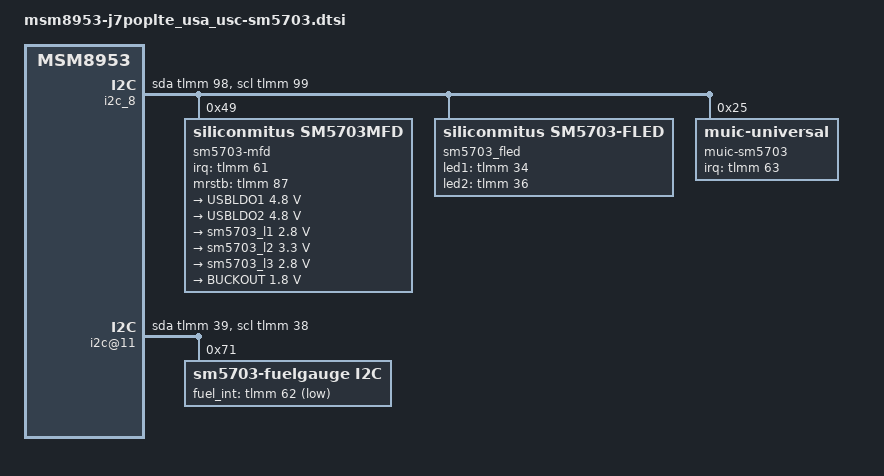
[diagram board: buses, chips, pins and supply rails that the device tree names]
/* Copyright (c) 2016, The Linux Foundation. All rights reserved.
 *
 * This program is free software; you can redistribute it and/or modify
 * it under the terms of the GNU General Public License version 2 and
 * only version 2 as published by the Free Software Foundation.
 *
 * This program is distributed in the hope that it will be useful,
 * but WITHOUT ANY WARRANTY; without even the implied warranty of
 * MERCHANTABILITY or FITNESS FOR A PARTICULAR PURPOSE.  See the
 * GNU General Public License for more details.
 */

&soc {
	i2c_8: i2c@8 {
		cell-index = <8>;
		compatible = "i2c-gpio";
		gpios = <&tlmm 98 0 /* sda */
			&tlmm 99 0	/* scl */
			>;
		i2c-gpio,delay-us = <2>;
		#address-cells = <1>;
		#size-cells = <0>;

		sm5703-mfd@49 {
			compatible = "siliconmitus,sm5703mfd";
			reg = <0x49>;
			interrupt-parent = <&tlmm>;
			sm5703,irq-gpio = <&tlmm 61 0x00>;
			sm5703,mrstb-gpio = <&tlmm 87 0x00>;
			pinctrl-names = "default";
			pinctrl-0 = <&sm5703_i2c_default &sm5703_rst_default &charger_int_active>;

			sm5703_charger {
				compatible = "siliconmitus,sm5703-charger";
				chg_autostop = <1>;
				chg_autoset = <1>;
				chg_aiclen = <1>;
				chg_aiclth = <4300>;
				fg_vol_val = <4350>;
				fg_soc_val = <95>;
				fg_curr_avr_val = <150>;
			};

			sm5703_usbldo1 {
				compatible = "siliconmitus,sm5703-usbldo1";
				regulator-name = "USBLDO1"; /* change name by yourself */
				regulator-min-microvolt = <4800000>;
				regulator-max-microvolt = <4800000>; /* max == min then apply_uV = 1 */
				/* regulator-microvolt-offset = < >; optional*/
				/* regulator-boot-on; optional, exist = enabled */
				regulator-always-on;
				/* regulator-ramp-delay = <100>; optional*/
			};

			sm5703_usbldo2 {
				compatible = "siliconmitus,sm5703-usbldo2";
				regulator-name = "USBLDO2"; /* change name by yourself */
				regulator-min-microvolt = <4800000>;
				regulator-max-microvolt = <4800000>; /* max == min then apply_uV = 1 */
				/* regulator-microvolt-offset = < >; optional*/
				/* regulator-boot-on; optional, exist = enabled */
				/* regulator-always-on; optional, exist = enabled */
				/* regulator-ramp-delay = <100>; optional*/
			};

			sm5703_l1: sm5703_ldo1 {
				compatible = "siliconmitus,sm5703-ldo1";
				regulator-name = "LDOOUT1"; /* change name by yourself */
				regulator-min-microvolt = <2800000>;
				regulator-max-microvolt = <2800000>; /* max == min then apply_uV = 1 */
				/* regulator-microvolt-offset = < >; optional*/
				/* regulator-boot-on; optional, exist = enabled */
				/* regulator-always-on; optional, exist = enabled */
				/* regulator-ramp-delay = <100>; optional*/
			};

			sm5703_l2: sm5703_ldo2 {
				compatible = "siliconmitus,sm5703-ldo2";
				regulator-name = "LDOOUT2"; /* change name by yourself */
				regulator-min-microvolt = <3300000>;
				regulator-max-microvolt = <3300000>; /* max == min then apply_uV = 1 */
				/* regulator-microvolt-offset = < >; optional*/
				/* regulator-boot-on; optional, exist = enabled */
				/* regulator-always-on; optional, exist = enabled */
				/* regulator-ramp-delay = <100>; optional*/
			};

			sm5703_l3: sm5703_ldo3 {
				compatible = "siliconmitus,sm5703-ldo3";
				regulator-name = "LDOOUT3"; /* change name by yourself */
				regulator-min-microvolt = <2800000>;
				regulator-max-microvolt = <2800000>; /* max == min then apply_uV = 1 */
				/* regulator-microvolt-offset = < >; optional*/
				/* regulator-boot-on; optional, exist = enabled */
				/* regulator-always-on; optional, exist = enabled */
				/* regulator-ramp-delay = <100>; optional*/
			};

			sm5703_buck {
				compatible = "siliconmitus,sm5703-buck";
				regulator-name = "BUCKOUT"; /* change name by yourself */
				regulator-min-microvolt = <1800000>;
				regulator-max-microvolt = <1800000>; /* max == min then apply_uV = 1 */
				/* regulator-microvolt-offset = < >; optional*/
				/* regulator-boot-on; optional, exist = enabled */
				/* regulator-always-on; optional, exist = enabled */
				/* regulator-ramp-delay = <100>; optional*/

			};
		};

		sm5703_fled {
			compatible = "siliconmitus,sm5703-fled";
			enable = <1 1>;
			id = <0>;
			flash-mode-current-mA = <1000>;
			preflash-mode-current-mA = <140>;
			torch-mode-current-mA = <70>;
			used-gpio-control = <1>;
			sm5703,led1-gpio  = <&tlmm 34 0x00>;
			sm5703,led2-gpio  = <&tlmm 36 0x00>;
			pinctrl-names = "fled_default","fled_sleep";
			pinctrl-0 = <&cam_flash_active>;
			pinctrl-1 = <&cam_flash_sleep>;
		};

		muic-sm5703@25 {
			status = "okay";
			compatible = "muic-universal";
			reg = <0x25>;
			interrupt-parent = <&tlmm>;
			interrupts = <63 0>;
			muic-universal,irq-gpio = <&tlmm 63 0x0>;
			sm5703,wakeup;
			muic-universal,chip_name = "sm,sm5703";
			pinctrl-names = "muic_i2c_pins_default";
			pinctrl-0 = <&sm5703_interrupt_default>;
		};
		
	};

	i2c@11 {
		cell-index = <11>;
		compatible = "i2c-gpio";
		gpios = <&tlmm 39 0	/* sda */
			&tlmm 38 0	/* scl */
			>;
		i2c-gpio,delay-us = <2>;
		#address-cells = <1>;
		#size-cells = <0>;

		sm5703-fuelgauge@71{
			compatible = "sm5703-fuelgauge,i2c";
			reg = <0x71>;
			interrupt-parent = <&tlmm>;
			pinctrl-names = "default";
			pinctrl-0 = <&fg_i2c_active &fuel_int_active>;
			fuelgauge,irqf = "IRQF_TRIGGER_FALLING + IRQF_ONESHOT + IRQF_NO_SUSPEND";
			fuelgauge,fuel_int = <&tlmm 62 0x1>;
			fuelgauge,fuel_alert_soc = <1>;
			fuelgauge,capacity_max = <1000>;
			fuelgauge,capacity_max_margin = <70>;
			fuelgauge,capacity_min = <0>;
			fuelgauge,capacity_calculation_type = <0x1F>;
		};
	};
};
